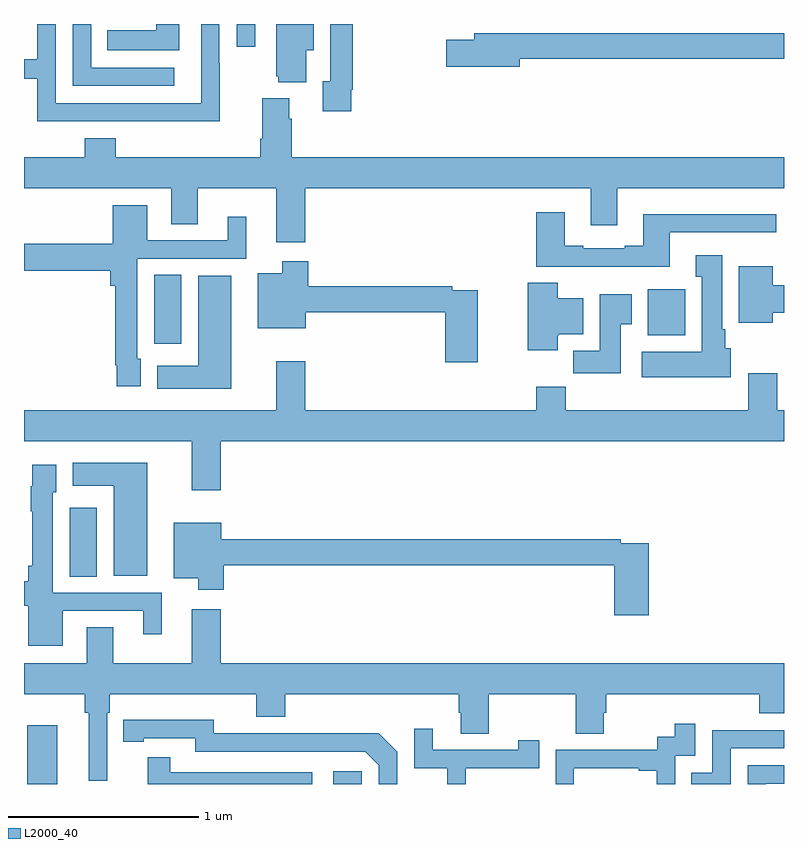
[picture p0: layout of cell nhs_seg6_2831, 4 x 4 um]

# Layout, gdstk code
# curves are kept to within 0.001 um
import gdstk
lib = gdstk.Library(unit=1e-6, precision=1e-09)
def R(c, l, rs):  # rectangles x0, y0, x1, y1
    for r in rs: c.add(gdstk.rectangle(r[:2], r[2:], *l))
def P(c, l, *ps):  # polygons
    for p in ps: c.add(gdstk.Polygon(p, *l))
L2000_40 = (2000, 40)

nhs_seg6_2831 = lib.new_cell('nhs_seg6_2831')
R(nhs_seg6_2831, L2000_40, [(277.016,977.5,277.174,977.809), (278.628,977.5,278.778,977.566), (277.241,978.592,277.384,978.955), (277.685,979.818,277.828,980.18), (280.283,979.862,280.48,980.104), (278.121,981.381,278.217,981.5)])
P(nhs_seg6_2831, L2000_40, [(278.031,981.293),(278.028,981.293),(278.028,981.5),(277.932,981.5),(277.932,981.084),(277.167,981.084),(277.167,981.5),(277.071,981.5),(277.071,981.314),(277,981.314),(277,981.213),(277.071,981.213),(277.071,980.988),(277.567,980.988),(277.567,980.987),(278.031,980.987)],
  [(278.485,981.362),(278.524,981.362),(278.524,981.5),(278.327,981.5),(278.327,981.225),(278.339,981.225),(278.339,981.194),(278.485,981.194)],
  [(277.816,981.5),(277.695,981.5),(277.695,981.466),(277.438,981.466),(277.438,981.362),(277.816,981.362)],
  [(278.722,981.154),(278.729,981.154),(278.729,981.5),(278.613,981.5),(278.613,981.198),(278.573,981.198),(278.573,981.042),(278.722,981.042)],
  [(277.792,981.27),(277.353,981.27),(277.353,981.5),(277.257,981.5),(277.257,981.174),(277.792,981.174)],
  [(279.61,981.316),(281,981.316),(281,981.452),(279.371,981.452),(279.371,981.416),(279.222,981.416),(279.222,981.274),(279.61,981.274)],
  [(278.48,980.636),(279.983,980.636),(279.983,980.442),(280.123,980.442),(280.123,980.636),(281,980.636),(281,980.8),(278.408,980.8),(278.408,981.002),(278.395,981.002),(278.395,981.109),(278.255,981.109),(278.255,980.896),(278.243,980.896),(278.243,980.8),(277.484,980.8),(277.484,980.899),(277.319,980.899),(277.319,980.8),(277,980.8),(277,980.636),(277.775,980.636),(277.775,980.446),(277.915,980.446),(277.915,980.636),(278.327,980.636),(278.327,980.352),(278.48,980.352)],
  [(277.615,979.737),(277.596,979.737),(277.596,980.265),(278.17,980.265),(278.17,980.485),(278.072,980.485),(278.072,980.361),(277.648,980.361),(277.648,980.545),(277.466,980.545),(277.466,980.343),(277.002,980.343),(277.002,980.201),(277.454,980.201),(277.454,980.123),(277.48,980.123),(277.48,979.705),(277.488,979.705),(277.488,979.593),(277.615,979.593)],
  [(280.399,980.403),(280.96,980.403),(280.96,980.5),(280.259,980.5),(280.259,980.332),(280.163,980.332),(280.163,980.319),(279.943,980.319),(279.943,980.332),(279.847,980.332),(279.847,980.509),(279.695,980.509),(279.695,980.223),(279.935,980.223),(279.935,980.222),(280.399,980.222)],
  [(280.72,979.794),(280.69,979.794),(280.69,979.894),(280.675,979.894),(280.675,980.284),(280.535,980.284),(280.535,980.171),(280.568,980.171),(280.568,979.774),(280.251,979.774),(280.251,979.64),(280.72,979.64)],
  [(279.388,980.1),(279.254,980.1),(279.254,980.12),(278.495,980.12),(278.495,980.251),(278.36,980.251),(278.36,980.188),(278.231,980.188),(278.231,979.898),(278.482,979.898),(278.482,979.984),(279.218,979.984),(279.218,979.719),(279.388,979.719)],
  [(280.942,979.979),(281,979.979),(281,980.126),(280.942,980.126),(280.942,980.224),(280.763,980.224),(280.763,979.928),(280.942,979.928)],
  [(278.092,980.176),(277.916,980.176),(277.916,979.702),(277.7,979.702),(277.7,979.58),(278.092,979.58)],
  [(279.808,979.862),(279.814,979.862),(279.814,979.868),(279.943,979.868),(279.943,980.056),(279.808,980.056),(279.808,980.138),(279.65,980.138),(279.65,979.782),(279.808,979.782)],
  [(280.141,979.921),(280.198,979.921),(280.198,980.077),(280.031,980.077),(280.031,979.78),(279.892,979.78),(279.892,979.662),(280.141,979.662)],
  [(278.036,979.304),(281,979.304),(281,979.468),(280.964,979.468),(280.964,979.663),(280.811,979.663),(280.811,979.468),(279.851,979.468),(279.851,979.592),(279.695,979.592),(279.695,979.468),(278.48,979.468),(278.48,979.726),(278.327,979.726),(278.327,979.468),(277,979.468),(277,979.304),(277.883,979.304),(277.883,979.047),(278.036,979.047)],
  [(277.648,979.192),(277.256,979.192),(277.256,979.07),(277.472,979.07),(277.472,978.596),(277.648,978.596)],
  [(277.204,978.411),(277.628,978.411),(277.628,978.288),(277.726,978.288),(277.726,978.507),(277.152,978.507),(277.152,979.035),(277.171,979.035),(277.171,979.18),(277.044,979.18),(277.044,979.067),(277.036,979.067),(277.036,978.935),(277.044,978.935),(277.044,978.649),(277.022,978.649),(277.022,978.566),(277,978.566),(277,978.438),(277.022,978.438),(277.022,978.227),(277.204,978.227)],
  [(280.289,978.768),(280.142,978.768),(280.142,978.788),(278.038,978.788),(278.038,978.874),(277.787,978.874),(277.787,978.584),(277.916,978.584),(277.916,978.522),(278.051,978.522),(278.051,978.652),(280.106,978.652),(280.106,978.387),(280.289,978.387)],
  [(277.437,977.876),(277.451,977.876),(277.451,977.972),(278.222,977.972),(278.222,977.855),(278.375,977.855),(278.375,977.972),(279.287,977.972),(279.287,977.874),(279.299,977.874),(279.299,977.764),(279.447,977.764),(279.447,977.972),(279.904,977.972),(279.904,977.764),(280.051,977.764),(280.051,977.874),(280.064,977.874),(280.064,977.972),(280.871,977.972),(280.871,977.873),(281,977.873),(281,978.136),(278.036,978.136),(278.036,978.421),(277.883,978.421),(277.883,978.136),(277.471,978.136),(277.471,978.326),(277.331,978.326),(277.331,978.136),(277,978.136),(277,977.972),(277.321,977.972),(277.321,977.876),(277.34,977.876),(277.34,977.517),(277.437,977.517)],
  [(278.964,977.67),(278.866,977.768),(278.458,977.768),(278.458,977.766),(277.998,977.766),(277.998,977.839),(277.522,977.838),(277.522,977.722),(277.63,977.722),(277.63,977.742),(277.902,977.742),(277.902,977.67),(278.796,977.67),(278.868,977.598),(278.868,977.5),(278.964,977.5)],
  [(279.894,977.583),(280.235,977.583),(280.235,977.571),(280.331,977.571),(280.331,977.5),(280.428,977.5),(280.428,977.649),(280.533,977.649),(280.533,977.818),(280.425,977.818),(280.425,977.748),(280.332,977.748),(280.332,977.679),(279.798,977.679),(279.798,977.5),(279.894,977.5)],
  [(279.324,977.583),(279.713,977.583),(279.713,977.731),(279.602,977.731),(279.602,977.679),(279.151,977.679),(279.151,977.791),(279.054,977.791),(279.054,977.583),(279.228,977.583),(279.228,977.5),(279.324,977.5)],
  [(280.719,977.688),(281,977.688),(281,977.784),(280.623,977.784),(280.623,977.559),(280.513,977.559),(280.513,977.5),(280.719,977.5)],
  [(278.518,977.562),(277.769,977.562),(277.769,977.641),(277.652,977.641),(277.652,977.5),(278.518,977.5)],
  [(280.905,977.502),(281,977.502),(281,977.598),(280.809,977.598),(280.809,977.5),(280.905,977.5)])

lib.write_gds('nhs_seg6_2831.gds')
